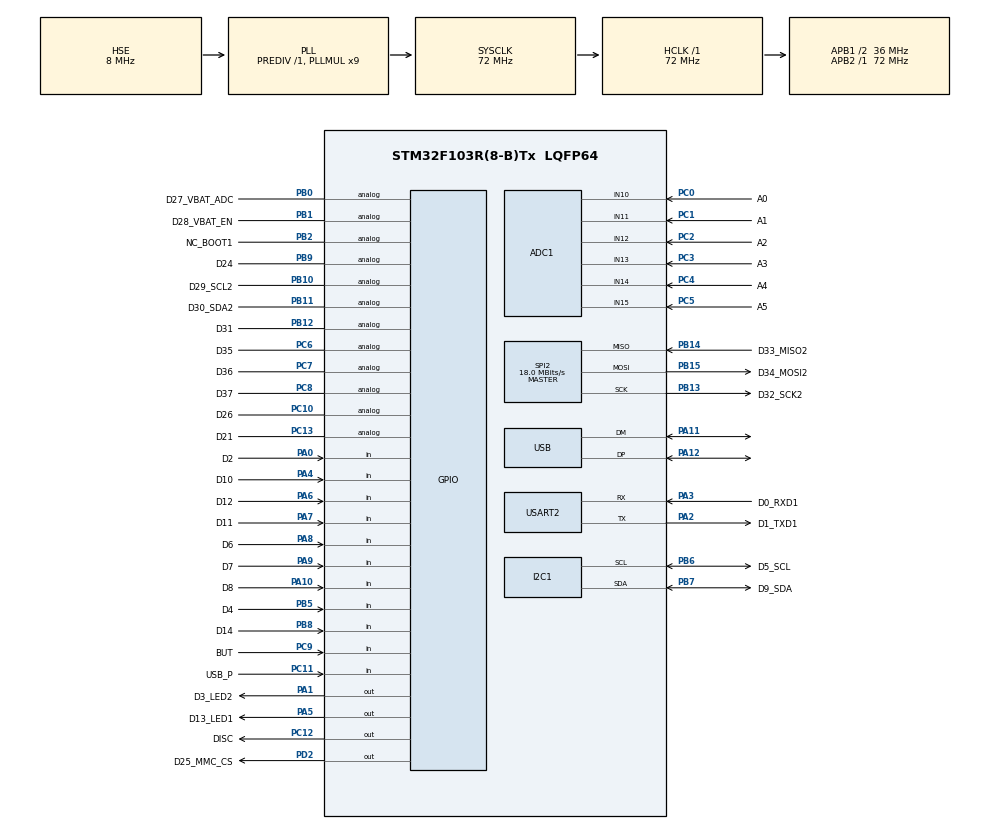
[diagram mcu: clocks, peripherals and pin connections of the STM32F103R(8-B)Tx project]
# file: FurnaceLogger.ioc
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ADC1.Channel-0\#ChannelRegularConversion=ADC_CHANNEL_10
ADC1.NbrOfConversionFlag=1
ADC1.Rank-0\#ChannelRegularConversion=1
ADC1.SamplingTime-0\#ChannelRegularConversion=ADC_SAMPLETIME_1CYCLE_5
ADC1.master=1
Mcu.Family=STM32F1
Mcu.Name=STM32F103R(8-B)Tx
Mcu.Package=LQFP64
NVIC.PriorityGroup=NVIC_PRIORITYGROUP_4
NVIC.USB_LP_CAN1_RX0_IRQn=true\:0\:0\:false\:false\:true\:false\:true\:true
PA0-WKUP.GPIO_Label=D2
PA0-WKUP.GPIO_PuPd=GPIO_PULLUP
PA0-WKUP.Signal=GPIO_Input
PA1.GPIO_Label=D3_LED2
PA1.GPIO_Speed=GPIO_SPEED_FREQ_LOW
PA1.Signal=GPIO_Output
PA10.GPIO_Label=D8
PA10.GPIO_PuPd=GPIO_PULLUP
PA10.Signal=GPIO_Input
PA11.Mode=Device
PA11.Signal=USB_DM
PA12.Mode=Device
PA12.Signal=USB_DP
PA13.Mode=JTAG_5_pins
PA13.Signal=SYS_JTMS-SWDIO
PA14.Mode=JTAG_5_pins
PA14.Signal=SYS_JTCK-SWCLK
PA15.Mode=JTAG_5_pins
PA15.Signal=SYS_JTDI
PA2.GPIO_Label=D1_TXD1
PA2.Mode=Asynchronous
PA2.Signal=USART2_TX
PA3.GPIO_Label=D0_RXD1
PA3.Mode=Asynchronous
PA3.Signal=USART2_RX
PA4.GPIO_Label=D10
PA4.GPIO_PuPd=GPIO_PULLUP
PA4.Signal=GPIO_Input
PA5.GPIO_Label=D13_LED1
PA5.Signal=GPIO_Output
PA6.GPIO_Label=D12
PA6.GPIO_PuPd=GPIO_PULLUP
PA6.Signal=GPIO_Input
PA7.GPIO_Label=D11
PA7.GPIO_PuPd=GPIO_PULLUP
PA7.Signal=GPIO_Input
PA8.GPIO_Label=D6
PA8.GPIO_PuPd=GPIO_PULLUP
PA8.Signal=GPIO_Input
PA9.GPIO_Label=D7
PA9.GPIO_PuPd=GPIO_PULLUP
PA9.Signal=GPIO_Input
PB0.GPIO_Label=D27_VBAT_ADC
PB0.Signal=GPIO_Analog
PB1.GPIO_Label=D28_VBAT_EN
PB1.Signal=GPIO_Analog
PB10.GPIO_Label=D29_SCL2
PB10.Signal=GPIO_Analog
PB11.GPIO_Label=D30_SDA2
PB11.Signal=GPIO_Analog
PB12.GPIO_Label=D31
PB12.Signal=GPIO_Analog
PB13.GPIO_Label=D32_SCK2
PB13.Mode=Full_Duplex_Master
PB13.Signal=SPI2_SCK
PB14.GPIO_Label=D33_MISO2
PB14.Mode=Full_Duplex_Master
PB14.Signal=SPI2_MISO
PB15.GPIO_Label=D34_MOSI2
PB15.Mode=Full_Duplex_Master
PB15.Signal=SPI2_MOSI
PB2.GPIO_Label=NC_BOOT1
PB2.Signal=GPIO_Analog
PB3.Mode=JTAG_5_pins
PB3.Signal=SYS_JTDO-TRACESWO
PB4.Mode=JTAG_5_pins
PB4.Signal=SYS_NJTRST
PB5.GPIO_Label=D4
PB5.GPIO_PuPd=GPIO_PULLUP
PB5.Signal=GPIO_Input
PB6.GPIO_Label=D5_SCL
PB6.Mode=I2C
PB6.Signal=I2C1_SCL
PB7.GPIO_Label=D9_SDA
PB7.Mode=I2C
PB7.Signal=I2C1_SDA
PB8.GPIO_Label=D14
PB8.GPIO_PuPd=GPIO_PULLUP
PB8.Signal=GPIO_Input
PB9.GPIO_Label=D24
PB9.Signal=GPIO_Analog
PC0.GPIO_Label=A0
PC0.Signal=ADCx_IN10
PC1.GPIO_Label=A1
PC1.Signal=ADCx_IN11
PC10.GPIO_Label=D26
PC10.Signal=GPIO_Analog
PC11.GPIO_Label=USB_P
PC11.Signal=GPIO_Input
PC12.GPIO_Label=DISC
PC12.GPIO_ModeDefaultOutputPP=GPIO_MODE_OUTPUT_OD
PC12.GPIO_PuPd=GPIO_NOPULL
PC12.PinState=GPIO_PIN_RESET
PC12.Signal=GPIO_Output
PC13-TAMPER-RTC.GPIO_Label=D21
PC13-TAMPER-RTC.Signal=GPIO_Analog
PC14-OSC32_IN.Mode=LSE-External-Oscillator
PC14-OSC32_IN.Signal=RCC_OSC32_IN
PC15-OSC32_OUT.Mode=LSE-External-Oscillator
PC15-OSC32_OUT.Signal=RCC_OSC32_OUT
PC2.GPIO_Label=A2
PC2.Signal=ADCx_IN12
PC3.GPIO_Label=A3
PC3.Signal=ADCx_IN13
PC4.GPIO_Label=A4
PC4.Signal=ADCx_IN14
PC5.GPIO_Label=A5
PC5.Signal=ADCx_IN15
PC6.GPIO_Label=D35
PC6.Signal=GPIO_Analog
PC7.GPIO_Label=D36
PC7.Signal=GPIO_Analog
PC8.GPIO_Label=D37
PC8.Signal=GPIO_Analog
PC9.GPIO_Label=BUT
PC9.Signal=GPIO_Input
PD0-OSC_IN.Mode=HSE-External-Oscillator
PD0-OSC_IN.Signal=RCC_OSC_IN
PD1-OSC_OUT.Mode=HSE-External-Oscillator
PD1-OSC_OUT.Signal=RCC_OSC_OUT
PD2.GPIO_Label=D25_MMC_CS
PD2.PinState=GPIO_PIN_SET
PD2.Signal=GPIO_Output
ProjectManager.HeapSize=0x400
ProjectManager.StackSize=0x800
ProjectManager.TargetToolchain=Makefile
RCC.ADCPresc=RCC_ADCPCLK2_DIV6
RCC.AHBFreq_Value=72000000
RCC.APB1CLKDivider=RCC_HCLK_DIV2
RCC.APB1Freq_Value=36000000
RCC.APB1TimFreq_Value=72000000
RCC.APB2Freq_Value=72000000
RCC.APB2TimFreq_Value=72000000
RCC.HCLKFreq_Value=72000000
RCC.PLLMUL=RCC_PLL_MUL9
RCC.SYSCLKFreq_VALUE=72000000
RCC.SYSCLKSource=RCC_SYSCLKSOURCE_PLLCLK
RCC.USBFreq_Value=48000000
RCC.USBPrescaler=RCC_USBCLKSOURCE_PLL_DIV1_5
SH.ADCx_IN10.0=ADC1_IN10,IN10
SH.ADCx_IN11.0=ADC1_IN11,IN11
SH.ADCx_IN12.0=ADC1_IN12,IN12
SH.ADCx_IN13.0=ADC1_IN13,IN13
SH.ADCx_IN14.0=ADC1_IN14,IN14
SH.ADCx_IN15.0=ADC1_IN15,IN15
SPI2.CalculateBaudRate=18.0 MBits/s
SPI2.Direction=SPI_DIRECTION_2LINES
SPI2.Mode=SPI_MODE_MASTER
SPI2.VirtualType=VM_MASTER
USART2.VirtualMode=VM_ASYNC
USB_DEVICE.CLASS_NAME_FS=CDC
USB_DEVICE.VirtualMode=Cdc
USB_DEVICE.VirtualModeFS=Cdc_FS
VP_RTC_VS_RTC_Activate.Mode=RTC_Enabled
VP_RTC_VS_RTC_Calendar.Mode=RTC_Calendar
VP_USB_DEVICE_VS_USB_DEVICE_CDC_FS.Mode=CDC_FS
board=custom

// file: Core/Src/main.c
/* USER CODE BEGIN Header */
/**
  ******************************************************************************
  * @file           : main.c
  * @brief          : Main program body
  ******************************************************************************
  * @attention
  *
  * Copyright (c) 2024 STMicroelectronics.
  * All rights reserved.
  *
  * This software is licensed under terms that can be found in the LICENSE file
  * in the root directory of this software component.
  * If no LICENSE file comes with this software, it is provided AS-IS.
  *
  ******************************************************************************
  */
/* USER CODE END Header */
#include "main.h"
#include "adc.h"
#include "i2c.h"
#include "rtc.h"
#include "spi.h"
#include "usart.h"
#include "usb_device.h"
#include "gpio.h"

/* USER CODE BEGIN Includes */
#include "usbd_cdc_if.h"
#include "assert.h"
/* USER CODE END Includes */

/* USER CODE BEGIN PTD */
typedef struct {
  uint8_t buf[1024];
  size_t head;
  size_t tail;
} io_buffer_t;

/* USER CODE END PTD */

/* USER CODE BEGIN PV */
static uint8_t _string_data[] = "Hello world!\r\n";
static io_buffer_t _rxd;

/* USER CODE END PV */

void SystemClock_Config(void);

/* USER CODE BEGIN 0 */
static int _fifo_put(io_buffer_t *fifo, uint8_t byte)
{
  int result = -1;
  size_t next_head = fifo->head + 1;
  if (next_head >= sizeof(fifo->buf)) {
    next_head = 0;
  }
  if (next_head != fifo->tail) {
    fifo->buf[fifo->head] = byte;
    fifo->head = next_head;
    result = 0;
  }

  return result;
}

void recv_bytes(const uint8_t *buf, size_t count)
{
  while (count-- != 0) {
    if (_fifo_put(&_rxd, *buf++) != 0) {
      // FIFO is full
      break;
    }
  }
}

int _read(int fd, void *buf, size_t count)
{
  int byte_count = 0;
  assert(buf != NULL);
  uint8_t *rx_buf = (uint8_t *)buf;
  if (fd == 0) {
    while ((count-- != 0) && (_rxd.head != _rxd.tail)) {
      *rx_buf++ = _rxd.buf[_rxd.tail];
      byte_count++;
      if (++_rxd.tail >= sizeof(_rxd.buf)) {
        _rxd.tail = 0;
      }
    }
  }
  return byte_count;
}

int _write(int fd, const void *buf, size_t count)
{
  int actual_count = -1;
  assert(buf != NULL);
  if ((fd == 1) || (fd == 2)) {
    actual_count = 0;
    if (CDC_Transmit_FS((uint8_t *)buf, count) == USBD_OK) {
      actual_count = count;
    }
    else {
      actual_count = -1;
    }
  }
  return actual_count;
}

/* USER CODE END 0 */

int main(void)
{

  /* MCU Configuration--------------------------------------------------------*/

  /* Reset of all peripherals, Initializes the Flash interface and the Systick. */
  HAL_Init();

  /* Configure the system clock */
  SystemClock_Config();

  /* Initialize all configured peripherals */
  MX_GPIO_Init();
  MX_ADC1_Init();
  MX_RTC_Init();
  MX_SPI2_Init();
  MX_USART2_UART_Init();
  MX_USB_DEVICE_Init();
  MX_I2C1_Init();

  /* Infinite loop */
  /* USER CODE BEGIN WHILE */
  while (1)
  {
    // Simple "hello world" test
    if (CDC_Transmit_FS(_string_data, sizeof(_string_data)) == USBD_OK) {
      HAL_GPIO_WritePin(D3_LED2_GPIO_Port, D3_LED2_Pin, GPIO_PIN_RESET);
      HAL_GPIO_TogglePin(D13_LED1_GPIO_Port, D13_LED1_Pin);
    }
    else {
      HAL_GPIO_WritePin(D13_LED1_GPIO_Port, D13_LED1_Pin, GPIO_PIN_RESET);
      HAL_GPIO_TogglePin(D3_LED2_GPIO_Port, D3_LED2_Pin);
      HAL_Delay(500);
    }
    HAL_Delay(500);
    /* USER CODE END WHILE */

  }
}

void SystemClock_Config(void)
{
  RCC_OscInitTypeDef RCC_OscInitStruct = {0};
  RCC_ClkInitTypeDef RCC_ClkInitStruct = {0};
  RCC_PeriphCLKInitTypeDef PeriphClkInit = {0};

  /** Initializes the RCC Oscillators according to the specified parameters
  * in the RCC_OscInitTypeDef structure.
  */
  RCC_OscInitStruct.OscillatorType = RCC_OSCILLATORTYPE_LSI|RCC_OSCILLATORTYPE_HSE;
  RCC_OscInitStruct.HSEState = RCC_HSE_ON;
  RCC_OscInitStruct.HSEPredivValue = RCC_HSE_PREDIV_DIV1;
  RCC_OscInitStruct.HSIState = RCC_HSI_ON;
  RCC_OscInitStruct.LSIState = RCC_LSI_ON;
  RCC_OscInitStruct.PLL.PLLState = RCC_PLL_ON;
  RCC_OscInitStruct.PLL.PLLSource = RCC_PLLSOURCE_HSE;
  RCC_OscInitStruct.PLL.PLLMUL = RCC_PLL_MUL9;
  if (HAL_RCC_OscConfig(&RCC_OscInitStruct) != HAL_OK)
  {
    Error_Handler();
  }

  /** Initializes the CPU, AHB and APB buses clocks
  */
  RCC_ClkInitStruct.ClockType = RCC_CLOCKTYPE_HCLK|RCC_CLOCKTYPE_SYSCLK
                              |RCC_CLOCKTYPE_PCLK1|RCC_CLOCKTYPE_PCLK2;
  RCC_ClkInitStruct.SYSCLKSource = RCC_SYSCLKSOURCE_PLLCLK;
  RCC_ClkInitStruct.AHBCLKDivider = RCC_SYSCLK_DIV1;
  RCC_ClkInitStruct.APB1CLKDivider = RCC_HCLK_DIV2;
  RCC_ClkInitStruct.APB2CLKDivider = RCC_HCLK_DIV1;

  if (HAL_RCC_ClockConfig(&RCC_ClkInitStruct, FLASH_LATENCY_2) != HAL_OK)
  {
    Error_Handler();
  }
  PeriphClkInit.PeriphClockSelection = RCC_PERIPHCLK_RTC|RCC_PERIPHCLK_ADC
                              |RCC_PERIPHCLK_USB;
  PeriphClkInit.RTCClockSelection = RCC_RTCCLKSOURCE_LSI;
  PeriphClkInit.AdcClockSelection = RCC_ADCPCLK2_DIV6;
  PeriphClkInit.UsbClockSelection = RCC_USBCLKSOURCE_PLL_DIV1_5;
  if (HAL_RCCEx_PeriphCLKConfig(&PeriphClkInit) != HAL_OK)
  {
    Error_Handler();
  }
}

void Error_Handler(void)
{
  __disable_irq();
  while (1)
  {
  }
}
